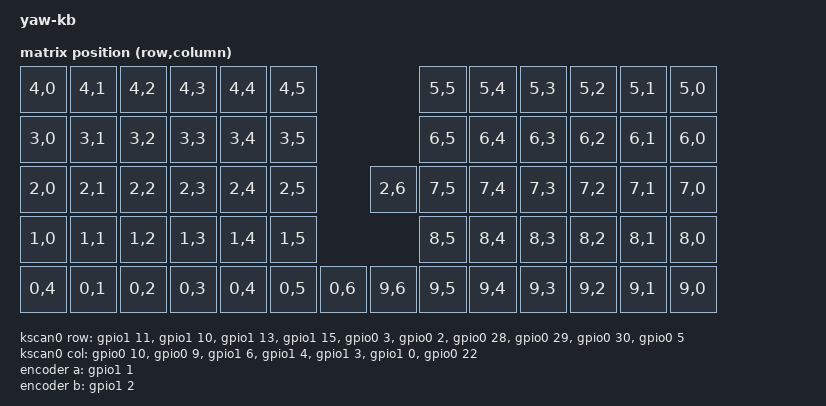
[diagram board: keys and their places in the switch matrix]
/*
 * Copyright (c) 2023 The ZMK Contributors
 * SPDX-License-Identifier: MIT
 *
 * This file is for a custom keyboard based on the HOLYIOT-18010-NRF52840 module.
 * It features a 10x7 matrix, rotary encoder, I2C Cirque Trackpad, and battery monitoring.
 */

/dts-v1/;
#include <nordic/nrf52840_qiaa.dtsi>
#include <dt-bindings/zmk/matrix_transform.h>
#include <input/processors.dtsi>
#include <dt-bindings/zmk/input_transform.h>

/ {
    model = "yaw-kb";
    compatible = "yaw-kb";

    chosen {
        zephyr,code-partition = &code_partition;
        zephyr,sram = &sram0;
        zephyr,flash = &flash0;
        zmk,kscan = &kscan0;
        zmk,matrix_transform = &default_transform;
        zephyr,console = &cdc_acm_uart;
        zmk,battery = &vbatt;
        zmk,encoder = &encoder;
        zmk,pointing_device = &trackpad;
    };

    /* 默认的键盘矩阵映射，直接对应物理位置 */
    default_transform: keymap_transform_0 {
        compatible = "zmk,matrix-transform";
        columns = <7>;
        rows = <10>;
        map = <
        RC(4,0) RC(4,1) RC(4,2) RC(4,3) RC(4,4) RC(4,5)                  RC(5,5) RC(5,4) RC(5,3) RC(5,2) RC(5,1) RC(5,0)
        RC(3,0) RC(3,1) RC(3,2) RC(3,3) RC(3,4) RC(3,5)                  RC(6,5) RC(6,4) RC(6,3) RC(6,2) RC(6,1) RC(6,0)
        RC(2,0) RC(2,1) RC(2,2) RC(2,3) RC(2,4) RC(2,5)      RC(2,6)     RC(7,5) RC(7,4) RC(7,3) RC(7,2) RC(7,1) RC(7,0)
        RC(1,0) RC(1,1) RC(1,2) RC(1,3) RC(1,4) RC(1,5)                  RC(8,5) RC(8,4) RC(8,3) RC(8,2) RC(8,1) RC(8,0)
        RC(0,4) RC(0,1) RC(0,2) RC(0,3) RC(0,4) RC(0,5) RC(0,6) RC(9,6)  RC(9,5) RC(9,4) RC(9,3) RC(9,2) RC(9,1) RC(9,0)
        >;
    };

    kscan0: kscan {
        compatible = "zmk,kscan-gpio-matrix";
        label = "KSCAN";
        diode-direction = "col2row";

        row-gpios
            = <&gpio1 11 (GPIO_ACTIVE_HIGH | GPIO_PULL_DOWN)>
            , <&gpio1 10 (GPIO_ACTIVE_HIGH | GPIO_PULL_DOWN)>
            , <&gpio1 13 (GPIO_ACTIVE_HIGH | GPIO_PULL_DOWN)>
            , <&gpio1 15 (GPIO_ACTIVE_HIGH | GPIO_PULL_DOWN)>
            , <&gpio0  3 (GPIO_ACTIVE_HIGH | GPIO_PULL_DOWN)>
            , <&gpio0  2 (GPIO_ACTIVE_HIGH | GPIO_PULL_DOWN)>
            , <&gpio0 28 (GPIO_ACTIVE_HIGH | GPIO_PULL_DOWN)>
            , <&gpio0 29 (GPIO_ACTIVE_HIGH | GPIO_PULL_DOWN)>
            , <&gpio0 30 (GPIO_ACTIVE_HIGH | GPIO_PULL_DOWN)>
            , <&gpio0  5 (GPIO_ACTIVE_HIGH | GPIO_PULL_DOWN)>
            ;

        col-gpios
            = <&gpio0 10 GPIO_ACTIVE_HIGH>
            , <&gpio0  9 GPIO_ACTIVE_HIGH>
            , <&gpio1  6 GPIO_ACTIVE_HIGH>
            , <&gpio1  4 GPIO_ACTIVE_HIGH>
            , <&gpio1  3 GPIO_ACTIVE_HIGH>
            , <&gpio1  0 GPIO_ACTIVE_HIGH>
            , <&gpio0 22 GPIO_ACTIVE_HIGH>
            ;
    };

    /* 旋转编码器定义 */
    encoder: encoder_1 {
        compatible = "alps,ec11";
        a-gpios = <&gpio1 1 (GPIO_ACTIVE_HIGH | GPIO_PULL_UP)>;
        b-gpios = <&gpio1 2 (GPIO_ACTIVE_HIGH | GPIO_PULL_UP)>;
        steps = <80>;
        status = "okay";
    };

    sensors: sensors {
        compatible = "zmk,keymap-sensors";
        sensors = <&encoder>;
        triggers-per-rotation = <20>;
    };

    /* --- 修改点 1: 移除了不再使用的 leds 定义 --- */

    /* 电池电压检测定义 */
    vbatt: vbatt {
        compatible = "zmk,battery-voltage-divider";
        label = "BATTERY";
        io-channels = <&adc 2>;
        output-ohms = <2000000>;
        full-ohms = <(2000000 + 820000)>;
    };

    /* 外部VCC控制引脚，用于控制轨迹板电源 */
    vcc_control_gpios: vcc_control_gpios {
        compatible = "gpio-keys";
        vcc_control_pin: vcc_control_pin {
            gpios = <&gpio0 31 (GPIO_ACTIVE_HIGH | GPIO_PULL_DOWN)>;
            label = "VCC Control";
        };
    };
};

/* 启用必要的硬件模块 */
&adc {
    status = "okay";
};

&gpio0 {
    status = "okay";
};

&gpio1 {
    status = "okay";
};

&pinctrl {
    i2c0_default: i2c0_default {
        group1 {
            psels = <NRF_PSEL(TWIM_SCL, 0, 19)>, // SCL on P0.19
                    <NRF_PSEL(TWIM_SDA, 0, 21)>; // SDA on P0.21
        };
    };

    i2c0_sleep: i2c0_sleep {
        group1 {
            psels = <NRF_PSEL(TWIM_SCL, 0, 19)>,
                    <NRF_PSEL(TWIM_SDA, 0, 21)>;
            low-power-enable;
        };
    };
};

&i2c0 {
    compatible = "nordic,nrf-twi";
    status = "okay";
    pinctrl-0 = <&i2c0_default>;
    pinctrl-1 = <&i2c0_sleep>;
    pinctrl-names = "default", "sleep";

    trackpad: trackpad@2a {
        compatible = "cirque,pinnacle";
        reg = <0x2a>;
        label = "TRACKPAD";
        /* --- 修改点 2: DR 引脚已正确更新为 P0.07 --- */
        dr-gpios = <&gpio0 7 (GPIO_ACTIVE_HIGH)>;

        sensitivity = "2x";
        no-taps;
    };
};

/ {
    trackpad_listener {
        compatible = "zmk,input-listener";
        device = <&trackpad>;
        input-processors = <&zip_xy_transform (INPUT_TRANSFORM_Y_INVERT)>;
    };
};

&usbd {
    status = "okay";
    cdc_acm_uart: cdc_acm_uart {
        compatible = "zephyr,cdc-acm-uart";
        label = "CDC_ACM_0";
    };
};

&flash0 {
    partitions {
        compatible = "fixed-partitions";
        #address-cells = <1>;
        #size-cells = <1>;

        sd_partition: partition@0 {
            label = "mbr";
            reg = <0x00000000 0x00001000>;
        };
        code_partition: partition@1000 {
            label = "code_partition";
            reg = <0x00001000 0x000d3000>;
        };

        storage_partition: partition@d4000 {
            label = "storage";
            reg = <0x000d4000 0x00020000>;
        };

        boot_partition: partition@f4000 {
            label = "adafruit_boot";
            reg = <0x000f4000 0x0000c000>;
        };
    };
};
